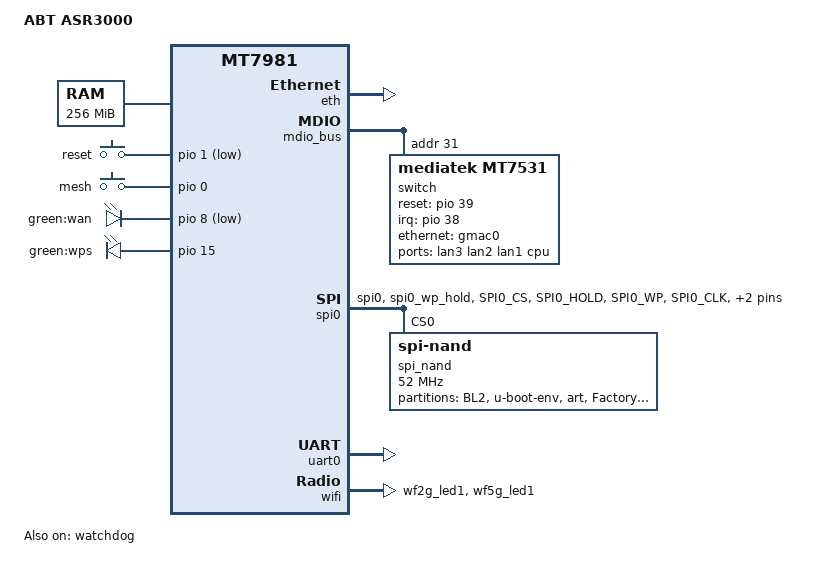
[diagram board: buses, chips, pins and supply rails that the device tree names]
// SPDX-License-Identifier: GPL-2.0-or-later OR MIT

/dts-v1/;
#include <dt-bindings/gpio/gpio.h>
#include <dt-bindings/input/input.h>

#include "mt7981.dtsi"

/ {
	model = "ABT ASR3000";
	compatible = "abt,asr3000", "mediatek,mt7981";

	aliases {
		serial0 = &uart0;
		led-boot = &led_wps;
		led-upgrade = &led_wps;
		label-mac-device = &gmac0;
	};

	chosen {
		stdout-path = "serial0:115200n8";
	};

	memory {
		reg = <0 0x40000000 0 0x10000000>;
	};

	gpio-keys {
		compatible = "gpio-keys";

		reset {
			label = "reset";
			linux,code = <KEY_RESTART>;
			gpios = <&pio 1 GPIO_ACTIVE_LOW>;
		};

		mesh {
			label = "mesh";
			linux,code = <KEY_WPS_BUTTON>;
			gpios = <&pio 0 GPIO_ACTIVE_HIGH>;
		};
	};

	leds {
		compatible = "gpio-leds";

		wan {
			label = "green:wan";
			gpios = <&pio 8 GPIO_ACTIVE_LOW>;
		};

		led_wps: wps {
			label = "green:wps";
			gpios = <&pio 15 GPIO_ACTIVE_HIGH>;
		};
	};
};

&eth {
	status = "okay";

	gmac0: mac@0 {
		compatible = "mediatek,eth-mac";
		reg = <0>;
		phy-mode = "2500base-x";

		nvmem-cells = <&macaddr_art_0 0>;
		nvmem-cell-names = "mac-address";

		fixed-link {
			speed = <2500>;
			full-duplex;
			pause;
		};
	};

	gmac1: mac@1 {
		compatible = "mediatek,eth-mac";
		reg = <1>;
		phy-mode = "gmii";
		phy-handle = <&int_gbe_phy>;

		nvmem-cells = <&macaddr_art_0 0x500000>;
		nvmem-cell-names = "mac-address";
	};
};

&mdio_bus {
	switch: switch@0 {
		compatible = "mediatek,mt7531";
		reg = <31>;
		reset-gpios = <&pio 39 GPIO_ACTIVE_HIGH>;
		interrupt-controller;
		#interrupt-cells = <1>;
		interrupt-parent = <&pio>;
		interrupts = <38 IRQ_TYPE_LEVEL_HIGH>;
	};
};

&spi0 {
	pinctrl-names = "default";
	pinctrl-0 = <&spi0_flash_pins>;
	status = "okay";

	spi_nand@0 {
		compatible = "spi-nand";
		#address-cells = <1>;
		#size-cells = <1>;
		reg = <0>;

		spi-max-frequency = <52000000>;
		spi-tx-bus-width = <4>;
		spi-rx-bus-width = <4>;

		mediatek,nmbm;
		mediatek,bmt-max-ratio = <1>;
		mediatek,bmt-max-reserved-blocks = <64>;

		partitions {
			compatible = "fixed-partitions";
			#address-cells = <1>;
			#size-cells = <1>;

			partition@0 {
				label = "BL2";
				reg = <0x0000000 0x0100000>;
				read-only;
			};

			partition@100000 {
				label = "u-boot-env";
				reg = <0x0100000 0x0080000>;
			};

			partition@180000 {
				label = "art";
				reg = <0x0180000 0x0100000>;
				read-only;

				nvmem-layout {
					compatible = "fixed-layout";
					#address-cells = <1>;
					#size-cells = <1>;

					macaddr_art_0: macaddr@0 {
						compatible = "mac-base";
						reg = <0x0 0x6>;
						#nvmem-cell-cells = <1>;
					};

					macaddr_art_6: macaddr@6 {
						reg = <0x6 0x6>;
					};
				};
			};

			factory: partition@280000 {
				label = "Factory";
				reg = <0x0280000 0x0100000>;
				read-only;
			};

			partition@380000 {
				label = "FIP";
				reg = <0x0380000 0x0200000>;
				read-only;
			};

			partition@580000 {
				label = "ubi";
				reg = <0x0580000 0x7000000>;
			};
		};
	};
};

&switch {
	ports {
		#address-cells = <1>;
		#size-cells = <0>;

		port@0 {
			reg = <0>;
			label = "lan3";
		};

		port@1 {
			reg = <1>;
			label = "lan2";
		};

		port@2 {
			reg = <2>;
			label = "lan1";
		};

		port@6 {
			reg = <6>;
			label = "cpu";
			ethernet = <&gmac0>;
			phy-mode = "2500base-x";

			fixed-link {
				speed = <2500>;
				full-duplex;
				pause;
			};
		};
	};
};

&pio {
	spi0_flash_pins: spi0-pins {
		mux {
			function = "spi";
			groups = "spi0", "spi0_wp_hold";
		};

		conf-pu {
			pins = "SPI0_CS", "SPI0_HOLD", "SPI0_WP";
			drive-strength = <8>;
			mediatek,pull-up-adv = <0>; /* bias-disable */
		};

		conf-pd {
			pins = "SPI0_CLK", "SPI0_MOSI", "SPI0_MISO";
			drive-strength = <8>;
			mediatek,pull-up-adv = <0>; /* bias-disable */
		};
	};

	wf_led_pins: wf-led-pins {
		mux {
			function = "led";
			groups = "wf2g_led1", "wf5g_led1";
		};
	};
};

&uart0 {
	status = "okay";
};

&watchdog {
	status = "okay";
};

&wifi {
	status = "okay";
	pinctrl-0 = <&wifi_dbdc_pins>, <&wf_led_pins>;
	nvmem-cells = <&macaddr_art_6>;
	nvmem-cell-names = "mac-address";
	mediatek,mtd-eeprom = <&factory 0x0>;

	led {
		led-active-low;
	};
};
